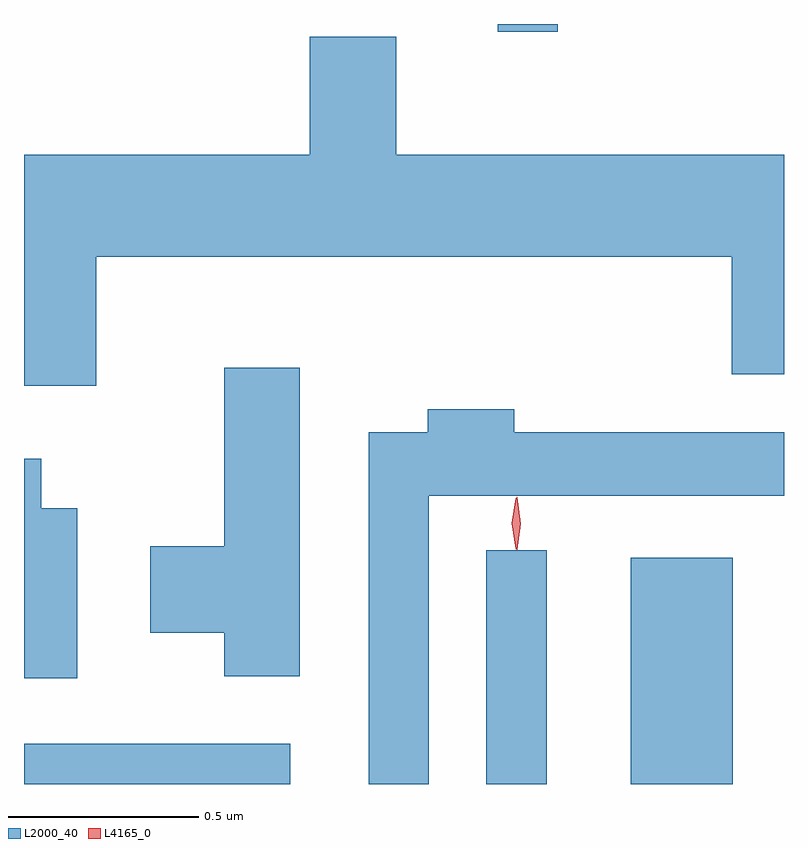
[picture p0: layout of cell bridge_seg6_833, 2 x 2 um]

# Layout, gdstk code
import gdstk
lib = gdstk.Library(unit=1e-6, precision=1e-09)
def R(c, l, rs):  # rectangles x0, y0, x1, y1
    for r in rs: c.add(gdstk.rectangle(r[:2], r[2:], *l))
def P(c, l, *ps):  # polygons
    for p in ps: c.add(gdstk.Polygon(p, *l))
L2000_40 = (2000, 40)
L4165_0 = (4165, 0)

bridge_seg6_833 = lib.new_cell('bridge_seg6_833')
R(bridge_seg6_833, L2000_40, [(548.879,1590.828,549.579,1590.934), (550.096,1590.828,550.254,1591.443), (550.476,1590.828,550.744,1591.424), (550.126,1592.808,550.284,1592.828)])
P(bridge_seg6_833, L2000_40, [(549.069,1592.216),(550.741,1592.216),(550.741,1591.906),(550.879,1591.906),(550.879,1592.484),(549.859,1592.484),(549.859,1592.794),(549.631,1592.794),(549.631,1592.484),(548.879,1592.484),(548.879,1591.876),(549.069,1591.876)],
  [(549.604,1591.924),(549.406,1591.924),(549.406,1591.454),(549.211,1591.454),(549.211,1591.226),(549.406,1591.226),(549.406,1591.111),(549.604,1591.111)],
  [(549.944,1591.586),(550.879,1591.586),(550.879,1591.754),(550.169,1591.754),(550.169,1591.814),(549.941,1591.814),(549.941,1591.754),(549.786,1591.754),(549.786,1590.828),(549.944,1590.828)],
  [(549.019,1591.554),(548.924,1591.554),(548.924,1591.684),(548.879,1591.684),(548.879,1591.106),(549.019,1591.106)])
P(bridge_seg6_833, L4165_0, [(550.173,1591.447),(550.163,1591.514),(550.173,1591.58),(550.173,1591.58),(550.174,1591.58),(550.183,1591.514),(550.174,1591.447),(550.174,1591.447)],
  [(550.176,1591.444),(550.176,1591.444),(550.166,1591.513),(550.176,1591.582),(550.176,1591.583),(550.177,1591.582),(550.186,1591.513),(550.177,1591.444)])

lib.write_gds('bridge_seg6_833.gds')
